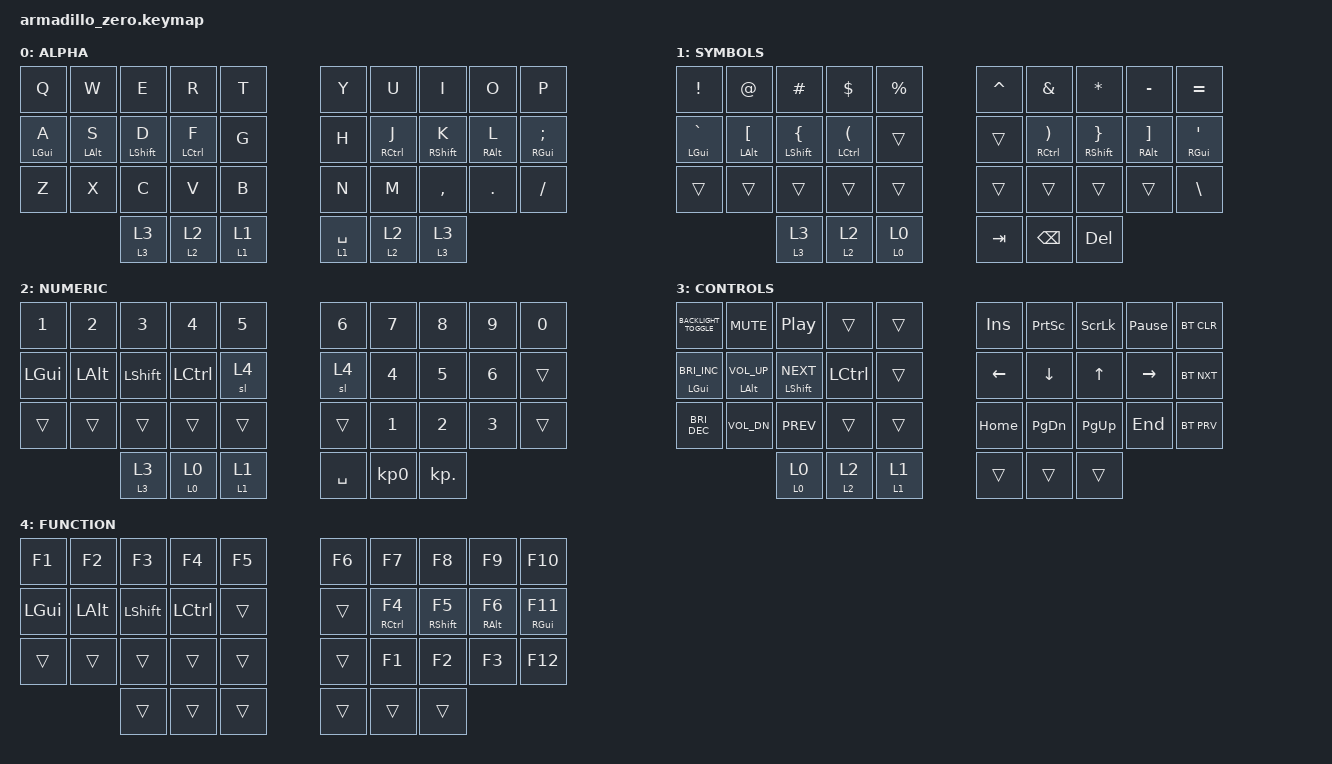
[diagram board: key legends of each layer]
#include <behaviors.dtsi>
#include <dt-bindings/zmk/bt.h>
#include <dt-bindings/zmk/keys.h>

/ {
    behaviors {
        bhmlf: balanced_homerow_mod_left_fast {
            compatible = "zmk,behavior-hold-tap";
            label = "Balanced Homerow Mod Left Fast";
            bindings = <&kp>, <&kp>;

            #binding-cells = <2>;
            tapping-term-ms = <150>;
            quick-tap-ms = <0>;
            hold-trigger-key-positions = <5 6 7 8 9 15 16 17 18 19 25 26 27 28 29 33 34 35>;
            flavor = "balanced";
            hold-trigger-on-release;
        };

        bhmrf: balanced_homerow_mod_right_fast {
            compatible = "zmk,behavior-hold-tap";
            label = "Balanced Homerow Mod Right Fast";
            bindings = <&kp>, <&kp>;

            #binding-cells = <2>;
            tapping-term-ms = <150>;
            quick-tap-ms = <0>;
            flavor = "balanced";
            hold-trigger-key-positions = <0 1 2 3 4 10 11 12 13 14 20 21 22 23 24 30 31 32>;
            hold-trigger-on-release;
        };

        moto: momentary_or_to_layer {
            compatible = "zmk,behavior-hold-tap";
            label = "Momentary when held, to when tapped";
            bindings = <&mo>, <&to>;

            #binding-cells = <2>;
            tapping-term-ms = <150>;
            quick-tap-ms = <0>;
        };

        bmhls: balanced_homerow_mod_left_slow {
            compatible = "zmk,behavior-hold-tap";
            label = "Balanced Homerow Mod Left Slow";
            bindings = <&kp>, <&kp>;

            #binding-cells = <2>;
            tapping-term-ms = <250>;
            quick-tap-ms = <0>;
            hold-trigger-key-positions = <5 6 7 8 9 15 16 17 18 19 25 26 27 28 29 33 34 35>;
            flavor = "balanced";
            hold-trigger-on-release;
        };

        bhmrs: balanced_homerow_mod_right_slow {
            compatible = "zmk,behavior-hold-tap";
            label = "Balanced Homerow Mod Right Slow";
            bindings = <&kp>, <&kp>;

            #binding-cells = <2>;
            tapping-term-ms = <250>;
            quick-tap-ms = <0>;
            flavor = "balanced";
            hold-trigger-key-positions = <0 1 2 3 4 10 11 12 13 14 20 21 22 23 24 30 31 32>;
            hold-trigger-on-release;
        };
    };

    combos {
        compatible = "zmk,combos";

        backspace {
            bindings = <&kp BACKSPACE>;
            key-positions = <16 17>;
        };

        enter {
            bindings = <&kp ENTER>;
            key-positions = <18 17>;
        };

        escape {
            bindings = <&kp ESC>;
            key-positions = <1 2>;
        };

        capslock {
            bindings = <&kp CAPS>;
            key-positions = <12 13>;
        };

        delete {
            bindings = <&kp DELETE>;
            key-positions = <7 6>;
        };

        tab {
            bindings = <&kp TAB>;
            key-positions = <11 12>;
        };
    };

    keymap {
        compatible = "zmk,keymap";

        ALPHA {
            bindings = <
&kp Q          &kp W              &kp E           &kp R           &kp T      &kp Y        &kp U           &kp I           &kp O          &kp P
&bmhls LGUI A  &bhmlf LEFT_ALT S  &bhmlf LSHFT D  &bhmlf LCTRL F  &kp G      &kp H        &bhmrf RCTRL J  &bhmrf RSHFT K  &bhmrf RALT L  &bhmrs RGUI SEMICOLON
&kp Z          &kp X              &kp C           &kp V           &kp B      &kp N        &kp M           &kp COMMA       &kp DOT        &kp FSLH
                                  &moto 3 3       &moto 2 2       &moto 1 1  &lt 1 SPACE  &moto 2 2       &moto 3 3
            >;
        };

        SYMBOLS {
            bindings = <
&kp EXCL           &kp AT_SIGN               &kp HASH                  &kp DLLR           &kp PRCNT  &kp CARET  &kp AMPS           &kp STAR                   &kp MINUS                  &kp EQUAL
&bhmrs LGUI GRAVE  &bhmlf LALT LEFT_BRACKET  &bhmlf LSHIFT LEFT_BRACE  &bhmlf LCTRL LPAR  &trans     &trans     &bhmrf RCTRL RPAR  &bhmrf RSHIFT RIGHT_BRACE  &bhmrf RALT RIGHT_BRACKET  &bhmrs RGUI SQT
&trans             &trans                    &trans                    &trans             &trans     &trans     &trans             &trans                     &trans                     &kp BACKSLASH
                                             &moto 3 3                 &moto 2 2          &moto 0 0  &kp TAB    &kp BACKSPACE      &kp DELETE
            >;
        };

        NUMERIC {
            bindings = <
&kp N1    &kp N2    &kp N3      &kp N4     &kp N5     &kp N6     &kp N7     &kp N8      &kp N9  &kp N0
&kp LGUI  &kp LALT  &kp LSHIFT  &kp LCTRL  &sl 4      &sl 4      &kp N4     &kp N5      &kp N6  &trans
&trans    &trans    &trans      &trans     &trans     &trans     &kp N1     &kp N2      &kp N3  &trans
                    &moto 3 3   &moto 0 0  &moto 1 1  &kp SPACE  &kp KP_N0  &kp KP_DOT
            >;
        };

        CONTROLS {
            bindings = <
&kp C_BACKLIGHT_TOGGLE        &kp K_MUTE            &kp C_PLAY_PAUSE      &trans     &trans     &kp INSERT  &kp PRINTSCREEN  &kp SCROLLLOCK  &kp PAUSE_BREAK  &bt BT_CLR
&bmhls LGUI C_BRIGHTNESS_INC  &bhmlf LALT C_VOL_UP  &bhmlf LSHIFT C_NEXT  &kp LCTRL  &trans     &kp LEFT    &kp DOWN         &kp UP_ARROW    &kp RIGHT        &bt BT_NXT
&kp C_BRIGHTNESS_DEC          &kp C_VOL_DN          &kp C_PREV            &trans     &trans     &kp HOME    &kp PAGE_DOWN    &kp PG_UP       &kp END          &bt BT_PRV
                                                    &moto 0 0             &moto 2 2  &moto 1 1  &trans      &trans           &trans
            >;
        };

        FUNCTION {
            bindings = <
&kp F1    &kp F2    &kp F3      &kp F4     &kp F5  &kp F6  &kp F7           &kp F8            &kp F9          &kp F10
&kp LGUI  &kp LALT  &kp LSHIFT  &kp LCTRL  &trans  &trans  &bhmrf RCTRL F4  &bhmrf RSHIFT F5  &bhmrf RALT F6  &bhmrs RGUI F11
&trans    &trans    &trans      &trans     &trans  &trans  &kp F1           &kp F2            &kp F3          &kp F12
                    &trans      &trans     &trans  &trans  &trans           &trans
            >;
        };
    };
};
